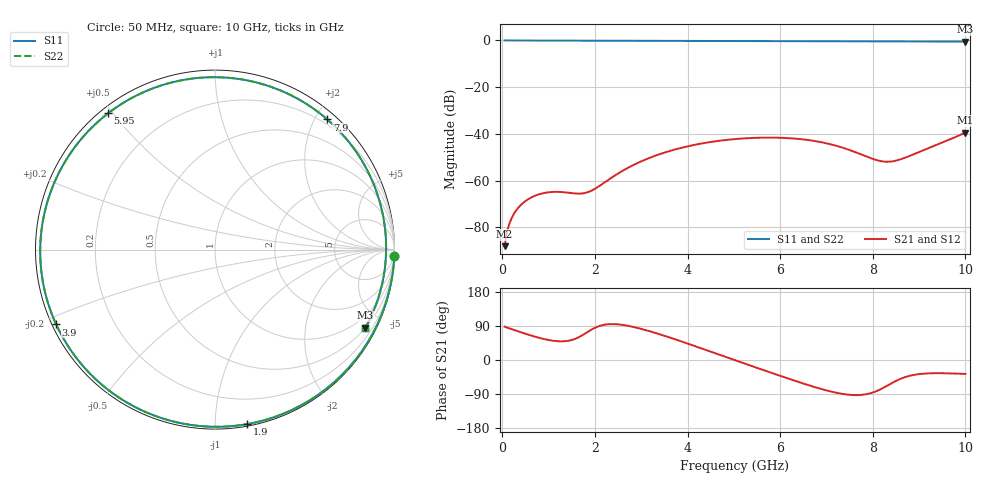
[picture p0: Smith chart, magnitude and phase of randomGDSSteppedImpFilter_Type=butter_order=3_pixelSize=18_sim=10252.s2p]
! freq	dB(S11)	phase(S11)	dB(S12)	phase(S12)
!  dB(S21)	phase(S21)	dB(S22)	phase(S22)
!S-par simulation data
#  GHz  S  DB  R 50
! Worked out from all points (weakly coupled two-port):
!   200 points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, 50 MHz to 10 GHz, reference 50 ohm
!   highest |S21| = -39.39 dB at 10 GHz (marker M1); lowest = -88.0 dB at 50 MHz (marker M2)
!   lowest |S11| = -0.5 dB at 10 GHz (marker M3), VSWR 34.83, Z = 25.2 - j202 ohm
!   |S11| at or under -10 dB: nowhere
!   |S22| runs from -0.5 to 0.0 dB; largest |S21 - S12| = 0
!   S11 on the Smith chart (normalised r, x): 50 MHz: 0, -52; 1.9 GHz: 0.01, -1.20; 3.9 GHz: 0.01, -0.22; 5.95 GHz: 0.02, +0.49; 7.9 GHz: 0.12, +2.18; 10 GHz: 0.50, -4.04
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0.05  -0.00 -2.2  -87.99 87.9  -87.99 87.9  -0.00 -2.2
0.1  -0.00 -4.4  -82.00 85.7  -82.00 85.7  -0.00 -4.4
0.25  -0.02 -10.8  -74.18 79.4  -74.18 79.4  -0.02 -10.8
0.4  -0.03 -17.3  -70.38 73.2  -70.38 73.2  -0.03 -17.3
0.7  -0.04 -30.1  -66.47 61.8  -66.47 61.8  -0.04 -30.1
1.1  -0.06 -46.9  -64.77 50.8  -64.77 50.8  -0.06 -46.9
1.75  -0.09 -73.5  -65.38 67.0  -65.38 67.0  -0.09 -73.5
1.9  -0.10 -79.5  -64.49 78.3  -64.49 78.3  -0.10 -79.5
2.6  -0.13 -106.6  -55.72 92.6  -55.72 92.6  -0.13 -106.6
3.4  -0.17 -136.4  -48.64 67.8  -48.64 67.8  -0.17 -136.4
3.9  -0.19 -154.8  -45.77 47.6  -45.77 47.6  -0.19 -154.8
4.5  -0.23 -176.8  -43.43 22.1  -43.43 22.1  -0.23 -176.8
5.05  -0.26 162.7  -42.15 -1.6  -42.15 -1.6  -0.26 162.7
5.5  -0.28 145.6  -41.63 -20.8  -41.63 -20.8  -0.28 145.6
5.95  -0.31 128.1  -41.60 -39.7  -41.60 -39.7  -0.31 128.1
6.7  -0.34 98.1  -42.87 -69.8  -42.87 -69.8  -0.34 98.1
7.3  -0.36 73.6  -45.57 -88.5  -45.57 -88.5  -0.36 73.6
7.9  -0.37 49.2  -49.93 -89.4  -49.93 -89.4  -0.37 49.2
8.35  -0.38 31.4  -51.87 -65.1  -51.87 -65.1  -0.38 31.4
8.6  -0.39 21.8  -50.85 -49.6  -50.85 -49.6  -0.39 21.8
9.15  -0.41 1.4  -46.48 -35.6  -46.48 -35.6  -0.41 1.4
10  -0.50 -27.4  -39.39 -36.7  -39.39 -36.7  -0.50 -27.4
